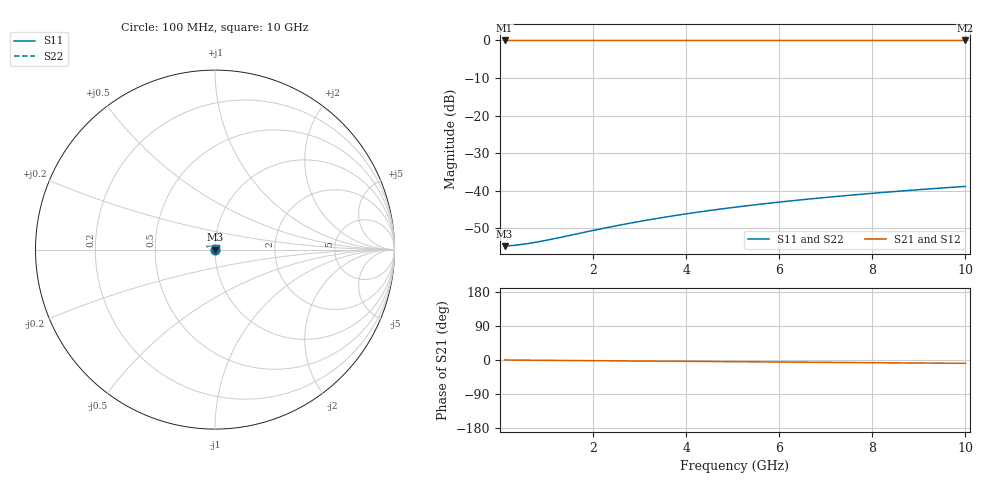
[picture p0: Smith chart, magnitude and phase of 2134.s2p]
# Hz S RI R 50.00
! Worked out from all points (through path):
!   100 points, 100 MHz to 10 GHz, reference 50 ohm
!   highest |S21| = -0.02 dB at 100 MHz (marker M1); lowest = 0.0 dB at 10 GHz (marker M2)
!   group delay of S21, straight-line fit = 2.46 ps
!   lowest |S11| = -54.8 dB at 100 MHz (marker M3), VSWR 1.00, Z = 50.2 + j0.0111 ohm
!   |S11| at or under -10 dB: start of sweep to end of sweep
!   |S22| runs from -54.8 to -38.9 dB; largest |S21 - S12| = 0
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1e8  0.00182 0.00011  0.9982 -0.00154  0.9982 -0.00154  0.00182 0.00011
3e8  0.00184 0.00033  0.9981 -0.00463  0.9981 -0.00463  0.00184 0.00033
4e8  0.00185 0.000441  0.9981 -0.00617  0.9981 -0.00617  0.00185 0.000441
6e8  0.00186 0.000661  0.9981 -0.00925  0.9981 -0.00925  0.00186 0.000661
8e8  0.00187 0.000881  0.998 -0.0123  0.998 -0.0123  0.00187 0.000881
1e9  0.00189 0.0011  0.998 -0.0154  0.998 -0.0154  0.00189 0.0011
1.2e9  0.0019 0.00132  0.9979 -0.0185  0.9979 -0.0185  0.0019 0.00132
1.8e9  0.00195 0.00198  0.9977 -0.0278  0.9977 -0.0278  0.00195 0.00198
2.2e9  0.00198 0.00242  0.9975 -0.0339  0.9975 -0.0339  0.00198 0.00242
2.6e9  0.00202 0.00286  0.9972 -0.0401  0.9972 -0.0401  0.00202 0.00286
3e9  0.00207 0.00329  0.997 -0.0463  0.997 -0.0463  0.00207 0.00329
3.4e9  0.00212 0.00373  0.9966 -0.0524  0.9966 -0.0524  0.00212 0.00373
3.8e9  0.00217 0.00417  0.9963 -0.0586  0.9963 -0.0586  0.00217 0.00417
4.2e9  0.00223 0.0046  0.9959 -0.0647  0.9959 -0.0647  0.00223 0.0046
4.6e9  0.0023 0.00503  0.9955 -0.0709  0.9955 -0.0709  0.0023 0.00503
5.1e9  0.00239 0.00558  0.9949 -0.0786  0.9949 -0.0786  0.00239 0.00558
5.9e9  0.00255 0.00644  0.9938 -0.0909  0.9938 -0.0909  0.00255 0.00644
6.7e9  0.00273 0.00729  0.9926 -0.1032  0.9926 -0.1032  0.00273 0.00729
7.5e9  0.00293 0.00815  0.9912 -0.1155  0.9912 -0.1155  0.00293 0.00815
8.4e9  0.00318 0.0091  0.9894 -0.1293  0.9894 -0.1293  0.00318 0.0091
9.2e9  0.00343 0.00993  0.9877 -0.1415  0.9877 -0.1415  0.00343 0.00993
1e10  0.0037 0.0108  0.9859 -0.1538  0.9859 -0.1538  0.0037 0.0108
